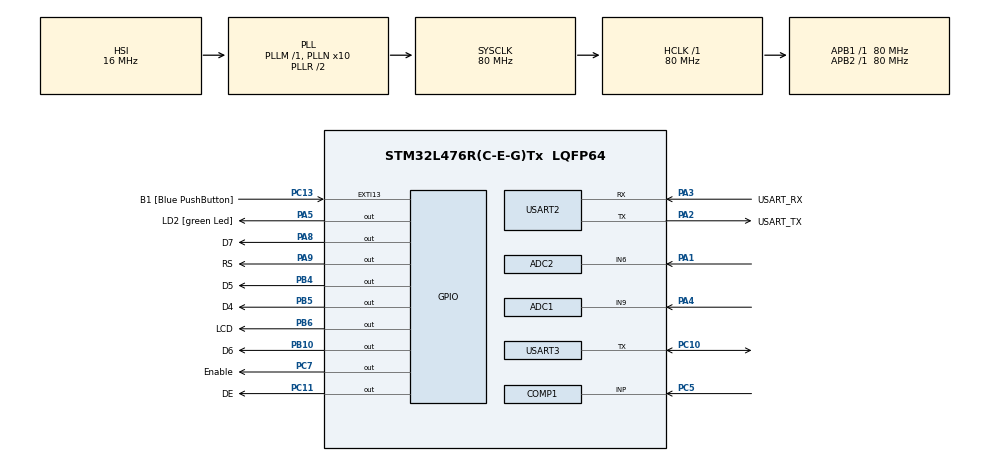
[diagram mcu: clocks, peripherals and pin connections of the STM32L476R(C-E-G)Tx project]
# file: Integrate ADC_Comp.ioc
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ADC1.Channel-0\#ChannelRegularConversion=ADC_CHANNEL_9
ADC1.ClockPrescaler=ADC_CLOCK_ASYNC_DIV64
ADC1.ContinuousConvMode=ENABLE
ADC1.DMAContinuousRequests=ENABLE
ADC1.NbrOfConversionFlag=1
ADC1.OffsetNumber-0\#ChannelRegularConversion=ADC_OFFSET_NONE
ADC1.Rank-0\#ChannelRegularConversion=1
ADC1.SamplingTime-0\#ChannelRegularConversion=ADC_SAMPLETIME_247CYCLES_5
ADC1.master=1
ADC2.Channel-0\#ChannelRegularConversion=ADC_CHANNEL_6
ADC2.ClockPrescaler=ADC_CLOCK_ASYNC_DIV64
ADC2.NbrOfConversionFlag=1
ADC2.OffsetNumber-0\#ChannelRegularConversion=ADC_OFFSET_NONE
ADC2.Rank-0\#ChannelRegularConversion=1
ADC2.SamplingTime-0\#ChannelRegularConversion=ADC_SAMPLETIME_2CYCLES_5
COMP1.Hysteresis=COMP_HYSTERESIS_HIGH
COMP1.TriggerMode=COMP_TRIGGERMODE_IT_RISING
Dma.ADC1.0.Direction=DMA_PERIPH_TO_MEMORY
Dma.ADC1.0.Instance=DMA1_Channel1
Dma.ADC1.0.MemDataAlignment=DMA_MDATAALIGN_WORD
Dma.ADC1.0.MemInc=DMA_MINC_ENABLE
Dma.ADC1.0.Mode=DMA_CIRCULAR
Dma.ADC1.0.PeriphDataAlignment=DMA_PDATAALIGN_WORD
Dma.ADC1.0.PeriphInc=DMA_PINC_DISABLE
Dma.ADC1.0.Priority=DMA_PRIORITY_LOW
Dma.Request0=ADC1
Mcu.Family=STM32L4
Mcu.Name=STM32L476R(C-E-G)Tx
Mcu.Package=LQFP64
NVIC.ADC1_2_IRQn=true\:0\:0\:false\:false\:true\:true\:true\:true
NVIC.COMP_IRQn=true\:0\:0\:false\:false\:true\:false\:true\:true
NVIC.DMA1_Channel1_IRQn=true\:0\:0\:false\:false\:true\:false\:true\:true
NVIC.PriorityGroup=NVIC_PRIORITYGROUP_4
NVIC.TIM1_UP_TIM16_IRQn=true\:0\:0\:false\:false\:true\:true\:true\:true
PA1.Signal=ADCx_IN6
PA13\ (JTMS-SWDIO).GPIO_Label=TMS
PA13\ (JTMS-SWDIO).Mode=Serial_Wire
PA13\ (JTMS-SWDIO).Signal=SYS_JTMS-SWDIO
PA14\ (JTCK-SWCLK).GPIO_Label=TCK
PA14\ (JTCK-SWCLK).Mode=Serial_Wire
PA14\ (JTCK-SWCLK).Signal=SYS_JTCK-SWCLK
PA2.GPIO_Label=USART_TX
PA2.GPIO_Mode=GPIO_MODE_AF_PP
PA2.GPIO_PuPd=GPIO_NOPULL
PA2.GPIO_Speed=GPIO_SPEED_FREQ_VERY_HIGH
PA2.Mode=Asynchronous
PA2.Signal=USART2_TX
PA3.GPIO_Label=USART_RX
PA3.GPIO_Mode=GPIO_MODE_AF_PP
PA3.GPIO_PuPd=GPIO_NOPULL
PA3.GPIO_Speed=GPIO_SPEED_FREQ_VERY_HIGH
PA3.Mode=Asynchronous
PA3.Signal=USART2_RX
PA4.Signal=ADCx_IN9
PA5.GPIO_Label=LD2 [green Led]
PA5.GPIO_ModeDefaultOutputPP=GPIO_MODE_OUTPUT_PP
PA5.GPIO_PuPd=GPIO_NOPULL
PA5.GPIO_Speed=GPIO_SPEED_FREQ_LOW
PA5.Signal=GPIO_Output
PA8.GPIO_Label=D7
PA8.Signal=GPIO_Output
PA9.GPIO_Label=RS
PA9.Signal=GPIO_Output
PB10.GPIO_Label=D6
PB10.Signal=GPIO_Output
PB3\ (JTDO-TRACESWO).GPIO_Label=SWO
PB3\ (JTDO-TRACESWO).Signal=SYS_JTDO-SWO
PB4\ (NJTRST).GPIO_Label=D5
PB4\ (NJTRST).Signal=GPIO_Output
PB5.GPIO_Label=D4
PB5.Signal=GPIO_Output
PB6.GPIO_Label=LCD
PB6.Signal=GPIO_Output
PC10.Mode=Half_duplex(single_wire_mode)
PC10.Signal=USART3_TX
PC11.GPIO_Label=DE
PC11.Signal=GPIO_Output
PC13.GPIO_Label=B1 [Blue PushButton]
PC13.GPIO_ModeDefaultEXTI=GPIO_MODE_IT_FALLING
PC13.GPIO_PuPd=GPIO_NOPULL
PC13.Signal=GPXTI13
PC14-OSC32_IN\ (PC14).Mode=LSE-External-Oscillator
PC14-OSC32_IN\ (PC14).Signal=RCC_OSC32_IN
PC15-OSC32_OUT\ (PC15).Mode=LSE-External-Oscillator
PC15-OSC32_OUT\ (PC15).Signal=RCC_OSC32_OUT
PC5.Mode=INP
PC5.Signal=COMP1_INP
PC7.GPIO_Label=Enable
PC7.Signal=GPIO_Output
PH0-OSC_IN\ (PH0).Signal=RCC_OSC_IN
PH1-OSC_OUT\ (PH1).Signal=RCC_OSC_OUT
ProjectManager.HeapSize=0x200
ProjectManager.StackSize=0x400
ProjectManager.TargetToolchain=STM32CubeIDE
RCC.ADCFreq_Value=64000000
RCC.AHBFreq_Value=80000000
RCC.APB1Freq_Value=80000000
RCC.APB1TimFreq_Value=80000000
RCC.APB2Freq_Value=80000000
RCC.APB2TimFreq_Value=80000000
RCC.CortexFreq_Value=80000000
RCC.HCLKFreq_Value=80000000
RCC.HSE_VALUE=8000000
RCC.HSI_VALUE=16000000
RCC.MSI_VALUE=4000000
RCC.PLLN=10
RCC.PLLSourceVirtual=RCC_PLLSOURCE_HSI
RCC.PREFETCH_ENABLE=1
RCC.SYSCLKFreq_VALUE=80000000
RCC.SYSCLKSource=RCC_SYSCLKSOURCE_PLLCLK
RCC.USBFreq_Value=64000000
RCC.VCOOutputFreq_Value=160000000
SH.ADCx_IN6.0=ADC2_IN6,IN6-Single-Ended
SH.ADCx_IN9.0=ADC1_IN9,IN9-Single-Ended
TIM16.Period=65534-1
TIM16.Prescaler=80-1
USART2.VirtualMode-Asynchronous=VM_ASYNC
USART3.BaudRate=57600
USART3.VirtualMode-Half_duplex(single_wire_mode)=VM_ASYNC
VP_COMP1_VS_VREFINT.Mode=VREFINT
VP_DAC1_VS_DACI1.Mode=DAC_OUT1_Int
VP_TIM16_VS_ClockSourceINT.Mode=Enable_Timer
board=NUCLEO-L476RG

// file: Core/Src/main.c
/* USER CODE BEGIN Header */
/**
  ******************************************************************************
  * @file           : main.c
  * @brief          : Main program body
  ******************************************************************************
  * @attention
  *
  * Copyright (c) 2024 STMicroelectronics.
  * All rights reserved.
  *
  * This software is licensed under terms that can be found in the LICENSE file
  * in the root directory of this software component.
  * If no LICENSE file comes with this software, it is provided AS-IS.
  *
  ******************************************************************************
  */
/* USER CODE END Header */
#include "main.h"

/* USER CODE BEGIN Includes */
#include "lcd16x2_v2.h"
#include "FFT.h"
#include "arm_math.h"
#include <math.h>
#include <stdio.h>
#include <string.h>
#include "lcd.h"
#include "adc.h"
#include "comparator.h"

/* USER CODE END Includes */

ADC_HandleTypeDef hadc1;
ADC_HandleTypeDef hadc2;
DMA_HandleTypeDef hdma_adc1;

COMP_HandleTypeDef hcomp1;

DAC_HandleTypeDef hdac1;

TIM_HandleTypeDef htim16;

UART_HandleTypeDef huart2;
UART_HandleTypeDef huart3;

void SystemClock_Config(void);
void PeriphCommonClock_Config(void);
static void MX_GPIO_Init(void);
static void MX_DMA_Init(void);
static void MX_USART2_UART_Init(void);
static void MX_ADC1_Init(void);
static void MX_ADC2_Init(void);
static void MX_COMP1_Init(void);
static void MX_TIM16_Init(void);
static void MX_DAC1_Init(void);
static void MX_USART3_UART_Init(void);

/* USER CODE BEGIN 0 */
//char uart_buf[200]; //buffer used to transmit data to serial port through uart2
//int uart_buf_len; //length of the buffer used for transmit data through uart2

/* USER CODE END 0 */

int main(void)
{

  /* MCU Configuration--------------------------------------------------------*/

  /* Reset of all peripherals, Initializes the Flash interface and the Systick. */
  HAL_Init();

  /* Configure the system clock */
  SystemClock_Config();

  /* Configure the peripherals common clocks */
  PeriphCommonClock_Config();

  /* Initialize all configured peripherals */
  MX_GPIO_Init();
  MX_DMA_Init();
  MX_USART2_UART_Init();
  MX_ADC1_Init();
  MX_ADC2_Init();
  MX_COMP1_Init();
  MX_TIM16_Init();
  MX_DAC1_Init();
  MX_USART3_UART_Init();
  /* USER CODE BEGIN 2 */
  lcd16x2_init_4bits(GPIOA, RS_Pin, GPIOC, Enable_Pin,
             GPIOB, D4_Pin, GPIOB, D5_Pin, GPIOB, D6_Pin, GPIOA, D7_Pin);
  LCD_Init();

  /* USER CODE END 2 */

  /* Infinite loop */
  /* USER CODE BEGIN WHILE */
  while (1)
  {

	int previousMethod;
	// Call the processButton function to check which button was pressed
	// and return the corresponding method
	int method = processButton(&hadc2);

	// Check if the method is 0 (ADC method selected)
	if (method == 0){
		ADCmethod(&hadc1,&hadc2, &huart2,&huart3);
		previousMethod =0; // Update the previous method to ADC

	// Check if the method is 1 (Comparator method selected)
	}else if (method == 1){
		compMethod(&hcomp1, &htim16,&hadc2,&huart2,&hdac1,&huart3);
		previousMethod = 1; // Update the previous method to comparator
	}

	// Check if the method is 3 (No new method selected or debounce)
	else if (method == 3){
		// If the previous method was ADC, call ADC method again
		if (previousMethod == 0){
			ADCmethod(&hadc1,&hadc2, &huart2,&huart3);

			// If the previous method was comparator, call comparator method again
		}else if (previousMethod == 1){
			compMethod(&hcomp1, &htim16,&hadc2,&huart2,&hdac1,&huart3);
		}

	}
  }

    /* USER CODE END WHILE */

}

void SystemClock_Config(void)
{
  RCC_OscInitTypeDef RCC_OscInitStruct = {0};
  RCC_ClkInitTypeDef RCC_ClkInitStruct = {0};

  /** Configure the main internal regulator output voltage
  */
  if (HAL_PWREx_ControlVoltageScaling(PWR_REGULATOR_VOLTAGE_SCALE1) != HAL_OK)
  {
    Error_Handler();
  }

  /** Initializes the RCC Oscillators according to the specified parameters
  * in the RCC_OscInitTypeDef structure.
  */
  RCC_OscInitStruct.OscillatorType = RCC_OSCILLATORTYPE_HSI;
  RCC_OscInitStruct.HSIState = RCC_HSI_ON;
  RCC_OscInitStruct.HSICalibrationValue = RCC_HSICALIBRATION_DEFAULT;
  RCC_OscInitStruct.PLL.PLLState = RCC_PLL_ON;
  RCC_OscInitStruct.PLL.PLLSource = RCC_PLLSOURCE_HSI;
  RCC_OscInitStruct.PLL.PLLM = 1;
  RCC_OscInitStruct.PLL.PLLN = 10;
  RCC_OscInitStruct.PLL.PLLP = RCC_PLLP_DIV7;
  RCC_OscInitStruct.PLL.PLLQ = RCC_PLLQ_DIV2;
  RCC_OscInitStruct.PLL.PLLR = RCC_PLLR_DIV2;
  if (HAL_RCC_OscConfig(&RCC_OscInitStruct) != HAL_OK)
  {
    Error_Handler();
  }

  /** Initializes the CPU, AHB and APB buses clocks
  */
  RCC_ClkInitStruct.ClockType = RCC_CLOCKTYPE_HCLK|RCC_CLOCKTYPE_SYSCLK
                              |RCC_CLOCKTYPE_PCLK1|RCC_CLOCKTYPE_PCLK2;
  RCC_ClkInitStruct.SYSCLKSource = RCC_SYSCLKSOURCE_PLLCLK;
  RCC_ClkInitStruct.AHBCLKDivider = RCC_SYSCLK_DIV1;
  RCC_ClkInitStruct.APB1CLKDivider = RCC_HCLK_DIV1;
  RCC_ClkInitStruct.APB2CLKDivider = RCC_HCLK_DIV1;

  if (HAL_RCC_ClockConfig(&RCC_ClkInitStruct, FLASH_LATENCY_4) != HAL_OK)
  {
    Error_Handler();
  }
}

void PeriphCommonClock_Config(void)
{
  RCC_PeriphCLKInitTypeDef PeriphClkInit = {0};

  /** Initializes the peripherals clock
  */
  PeriphClkInit.PeriphClockSelection = RCC_PERIPHCLK_ADC;
  PeriphClkInit.AdcClockSelection = RCC_ADCCLKSOURCE_PLLSAI1;
  PeriphClkInit.PLLSAI1.PLLSAI1Source = RCC_PLLSOURCE_HSI;
  PeriphClkInit.PLLSAI1.PLLSAI1M = 1;
  PeriphClkInit.PLLSAI1.PLLSAI1N = 8;
  PeriphClkInit.PLLSAI1.PLLSAI1P = RCC_PLLP_DIV7;
  PeriphClkInit.PLLSAI1.PLLSAI1Q = RCC_PLLQ_DIV2;
  PeriphClkInit.PLLSAI1.PLLSAI1R = RCC_PLLR_DIV2;
  PeriphClkInit.PLLSAI1.PLLSAI1ClockOut = RCC_PLLSAI1_ADC1CLK;
  if (HAL_RCCEx_PeriphCLKConfig(&PeriphClkInit) != HAL_OK)
  {
    Error_Handler();
  }
}

static void MX_ADC1_Init(void)
{

  ADC_MultiModeTypeDef multimode = {0};
  ADC_ChannelConfTypeDef sConfig = {0};

  /** Common config
  */
  hadc1.Instance = ADC1;
  hadc1.Init.ClockPrescaler = ADC_CLOCK_ASYNC_DIV64;
  hadc1.Init.Resolution = ADC_RESOLUTION_12B;
  hadc1.Init.DataAlign = ADC_DATAALIGN_RIGHT;
  hadc1.Init.ScanConvMode = ADC_SCAN_DISABLE;
  hadc1.Init.EOCSelection = ADC_EOC_SINGLE_CONV;
  hadc1.Init.LowPowerAutoWait = DISABLE;
  hadc1.Init.ContinuousConvMode = ENABLE;
  hadc1.Init.NbrOfConversion = 1;
  hadc1.Init.DiscontinuousConvMode = DISABLE;
  hadc1.Init.ExternalTrigConv = ADC_SOFTWARE_START;
  hadc1.Init.ExternalTrigConvEdge = ADC_EXTERNALTRIGCONVEDGE_NONE;
  hadc1.Init.DMAContinuousRequests = ENABLE;
  hadc1.Init.Overrun = ADC_OVR_DATA_PRESERVED;
  hadc1.Init.OversamplingMode = DISABLE;
  if (HAL_ADC_Init(&hadc1) != HAL_OK)
  {
    Error_Handler();
  }

  /** Configure the ADC multi-mode
  */
  multimode.Mode = ADC_MODE_INDEPENDENT;
  if (HAL_ADCEx_MultiModeConfigChannel(&hadc1, &multimode) != HAL_OK)
  {
    Error_Handler();
  }

  /** Configure Regular Channel
  */
  sConfig.Channel = ADC_CHANNEL_9;
  sConfig.Rank = ADC_REGULAR_RANK_1;
  sConfig.SamplingTime = ADC_SAMPLETIME_247CYCLES_5;
  sConfig.SingleDiff = ADC_SINGLE_ENDED;
  sConfig.OffsetNumber = ADC_OFFSET_NONE;
  sConfig.Offset = 0;
  if (HAL_ADC_ConfigChannel(&hadc1, &sConfig) != HAL_OK)
  {
    Error_Handler();
  }

}

static void MX_ADC2_Init(void)
{

  ADC_ChannelConfTypeDef sConfig = {0};

  /** Common config
  */
  hadc2.Instance = ADC2;
  hadc2.Init.ClockPrescaler = ADC_CLOCK_ASYNC_DIV64;
  hadc2.Init.Resolution = ADC_RESOLUTION_12B;
  hadc2.Init.DataAlign = ADC_DATAALIGN_RIGHT;
  hadc2.Init.ScanConvMode = ADC_SCAN_DISABLE;
  hadc2.Init.EOCSelection = ADC_EOC_SINGLE_CONV;
  hadc2.Init.LowPowerAutoWait = DISABLE;
  hadc2.Init.ContinuousConvMode = DISABLE;
  hadc2.Init.NbrOfConversion = 1;
  hadc2.Init.DiscontinuousConvMode = DISABLE;
  hadc2.Init.ExternalTrigConv = ADC_SOFTWARE_START;
  hadc2.Init.ExternalTrigConvEdge = ADC_EXTERNALTRIGCONVEDGE_NONE;
  hadc2.Init.DMAContinuousRequests = DISABLE;
  hadc2.Init.Overrun = ADC_OVR_DATA_PRESERVED;
  hadc2.Init.OversamplingMode = DISABLE;
  if (HAL_ADC_Init(&hadc2) != HAL_OK)
  {
    Error_Handler();
  }

  /** Configure Regular Channel
  */
  sConfig.Channel = ADC_CHANNEL_6;
  sConfig.Rank = ADC_REGULAR_RANK_1;
  sConfig.SamplingTime = ADC_SAMPLETIME_2CYCLES_5;
  sConfig.SingleDiff = ADC_SINGLE_ENDED;
  sConfig.OffsetNumber = ADC_OFFSET_NONE;
  sConfig.Offset = 0;
  if (HAL_ADC_ConfigChannel(&hadc2, &sConfig) != HAL_OK)
  {
    Error_Handler();
  }

}

static void MX_COMP1_Init(void)
{

  hcomp1.Instance = COMP1;
  hcomp1.Init.InvertingInput = COMP_INPUT_MINUS_VREFINT;
  hcomp1.Init.NonInvertingInput = COMP_INPUT_PLUS_IO1;
  hcomp1.Init.OutputPol = COMP_OUTPUTPOL_NONINVERTED;
  hcomp1.Init.Hysteresis = COMP_HYSTERESIS_HIGH;
  hcomp1.Init.BlankingSrce = COMP_BLANKINGSRC_NONE;
  hcomp1.Init.Mode = COMP_POWERMODE_HIGHSPEED;
  hcomp1.Init.WindowMode = COMP_WINDOWMODE_DISABLE;
  hcomp1.Init.TriggerMode = COMP_TRIGGERMODE_IT_RISING;
  if (HAL_COMP_Init(&hcomp1) != HAL_OK)
  {
    Error_Handler();
  }

}

static void MX_DAC1_Init(void)
{

  DAC_ChannelConfTypeDef sConfig = {0};

  /** DAC Initialization
  */
  hdac1.Instance = DAC1;
  if (HAL_DAC_Init(&hdac1) != HAL_OK)
  {
    Error_Handler();
  }

  /** DAC channel OUT1 config
  */
  sConfig.DAC_SampleAndHold = DAC_SAMPLEANDHOLD_DISABLE;
  sConfig.DAC_Trigger = DAC_TRIGGER_NONE;
  sConfig.DAC_OutputBuffer = DAC_OUTPUTBUFFER_DISABLE;
  sConfig.DAC_ConnectOnChipPeripheral = DAC_CHIPCONNECT_ENABLE;
  sConfig.DAC_UserTrimming = DAC_TRIMMING_FACTORY;
  if (HAL_DAC_ConfigChannel(&hdac1, &sConfig, DAC_CHANNEL_1) != HAL_OK)
  {
    Error_Handler();
  }

}

static void MX_TIM16_Init(void)
{

  htim16.Instance = TIM16;
  htim16.Init.Prescaler = 80-1;
  htim16.Init.CounterMode = TIM_COUNTERMODE_UP;
  htim16.Init.Period = 65534-1;
  htim16.Init.ClockDivision = TIM_CLOCKDIVISION_DIV1;
  htim16.Init.RepetitionCounter = 0;
  htim16.Init.AutoReloadPreload = TIM_AUTORELOAD_PRELOAD_DISABLE;
  if (HAL_TIM_Base_Init(&htim16) != HAL_OK)
  {
    Error_Handler();
  }

}

static void MX_USART2_UART_Init(void)
{

  huart2.Instance = USART2;
  huart2.Init.BaudRate = 115200;
  huart2.Init.WordLength = UART_WORDLENGTH_8B;
  huart2.Init.StopBits = UART_STOPBITS_1;
  huart2.Init.Parity = UART_PARITY_NONE;
  huart2.Init.Mode = UART_MODE_TX_RX;
  huart2.Init.HwFlowCtl = UART_HWCONTROL_NONE;
  huart2.Init.OverSampling = UART_OVERSAMPLING_16;
  huart2.Init.OneBitSampling = UART_ONE_BIT_SAMPLE_DISABLE;
  huart2.AdvancedInit.AdvFeatureInit = UART_ADVFEATURE_NO_INIT;
  if (HAL_UART_Init(&huart2) != HAL_OK)
  {
    Error_Handler();
  }

}

static void MX_USART3_UART_Init(void)
{

  huart3.Instance = USART3;
  huart3.Init.BaudRate = 57600;
  huart3.Init.WordLength = UART_WORDLENGTH_8B;
  huart3.Init.StopBits = UART_STOPBITS_1;
  huart3.Init.Parity = UART_PARITY_NONE;
  huart3.Init.Mode = UART_MODE_TX_RX;
  huart3.Init.HwFlowCtl = UART_HWCONTROL_NONE;
  huart3.Init.OverSampling = UART_OVERSAMPLING_16;
  huart3.Init.OneBitSampling = UART_ONE_BIT_SAMPLE_DISABLE;
  huart3.AdvancedInit.AdvFeatureInit = UART_ADVFEATURE_NO_INIT;
  if (HAL_HalfDuplex_Init(&huart3) != HAL_OK)
  {
    Error_Handler();
  }

}

static void MX_DMA_Init(void)
{

  /* DMA controller clock enable */
  __HAL_RCC_DMA1_CLK_ENABLE();

  /* DMA interrupt init */
  /* DMA1_Channel1_IRQn interrupt configuration */
  HAL_NVIC_SetPriority(DMA1_Channel1_IRQn, 0, 0);
  HAL_NVIC_EnableIRQ(DMA1_Channel1_IRQn);

}

static void MX_GPIO_Init(void)
{
  GPIO_InitTypeDef GPIO_InitStruct = {0};

  /* GPIO Ports Clock Enable */
  __HAL_RCC_GPIOC_CLK_ENABLE();
  __HAL_RCC_GPIOH_CLK_ENABLE();
  __HAL_RCC_GPIOA_CLK_ENABLE();
  __HAL_RCC_GPIOB_CLK_ENABLE();

  /*Configure GPIO pin Output Level */
  HAL_GPIO_WritePin(GPIOA, LD2_Pin|D7_Pin|RS_Pin, GPIO_PIN_RESET);

  /*Configure GPIO pin Output Level */
  HAL_GPIO_WritePin(GPIOB, D6_Pin|D5_Pin|D4_Pin|LCD_Pin, GPIO_PIN_RESET);

  /*Configure GPIO pin Output Level */
  HAL_GPIO_WritePin(GPIOC, Enable_Pin|DE_Pin, GPIO_PIN_RESET);

  /*Configure GPIO pin : B1_Pin */
  GPIO_InitStruct.Pin = B1_Pin;
  GPIO_InitStruct.Mode = GPIO_MODE_IT_FALLING;
  GPIO_InitStruct.Pull = GPIO_NOPULL;
  HAL_GPIO_Init(B1_GPIO_Port, &GPIO_InitStruct);

  /*Configure GPIO pins : LD2_Pin D7_Pin RS_Pin */
  GPIO_InitStruct.Pin = LD2_Pin|D7_Pin|RS_Pin;
  GPIO_InitStruct.Mode = GPIO_MODE_OUTPUT_PP;
  GPIO_InitStruct.Pull = GPIO_NOPULL;
  GPIO_InitStruct.Speed = GPIO_SPEED_FREQ_LOW;
  HAL_GPIO_Init(GPIOA, &GPIO_InitStruct);

  /*Configure GPIO pins : D6_Pin D5_Pin D4_Pin LCD_Pin */
  GPIO_InitStruct.Pin = D6_Pin|D5_Pin|D4_Pin|LCD_Pin;
  GPIO_InitStruct.Mode = GPIO_MODE_OUTPUT_PP;
  GPIO_InitStruct.Pull = GPIO_NOPULL;
  GPIO_InitStruct.Speed = GPIO_SPEED_FREQ_LOW;
  HAL_GPIO_Init(GPIOB, &GPIO_InitStruct);

  /*Configure GPIO pins : Enable_Pin DE_Pin */
  GPIO_InitStruct.Pin = Enable_Pin|DE_Pin;
  GPIO_InitStruct.Mode = GPIO_MODE_OUTPUT_PP;
  GPIO_InitStruct.Pull = GPIO_NOPULL;
  GPIO_InitStruct.Speed = GPIO_SPEED_FREQ_LOW;
  HAL_GPIO_Init(GPIOC, &GPIO_InitStruct);

}

void Error_Handler(void)
{
  __disable_irq();
  while (1)
  {
  }
}
